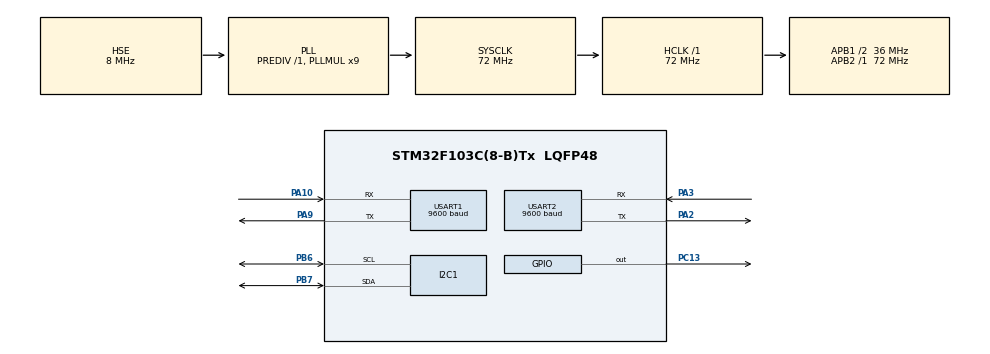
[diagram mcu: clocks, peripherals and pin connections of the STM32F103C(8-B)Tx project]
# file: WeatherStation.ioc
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I2C1.I2C_Mode=I2C_Fast
IWDG.Prescaler=IWDG_PRESCALER_32
IWDG.Reload=1999
Mcu.Family=STM32F1
Mcu.Name=STM32F103C(8-B)Tx
Mcu.Package=LQFP48
NVIC.I2C1_EV_IRQn=true\:0\:0\:false\:false\:true\:true\:true
NVIC.PriorityGroup=NVIC_PRIORITYGROUP_4
NVIC.TIM2_IRQn=true\:0\:0\:false\:false\:true\:true\:true
NVIC.USART1_IRQn=true\:0\:0\:false\:false\:true\:true\:true
NVIC.USART2_IRQn=true\:0\:0\:false\:false\:true\:true\:true
PA10.Mode=Asynchronous
PA10.Signal=USART1_RX
PA13.Mode=Serial_Wire
PA13.Signal=SYS_JTMS-SWDIO
PA14.Mode=Serial_Wire
PA14.Signal=SYS_JTCK-SWCLK
PA2.Mode=Asynchronous
PA2.Signal=USART2_TX
PA3.Mode=Asynchronous
PA3.Signal=USART2_RX
PA9.Mode=Asynchronous
PA9.Signal=USART1_TX
PB6.Mode=I2C
PB6.Signal=I2C1_SCL
PB7.Mode=I2C
PB7.Signal=I2C1_SDA
PC13-TAMPER-RTC.Signal=GPIO_Output
PD0-OSC_IN.Mode=HSE-External-Oscillator
PD0-OSC_IN.Signal=RCC_OSC_IN
PD1-OSC_OUT.Mode=HSE-External-Oscillator
PD1-OSC_OUT.Signal=RCC_OSC_OUT
ProjectManager.HeapSize=0x200
ProjectManager.StackSize=0x400
ProjectManager.TargetToolchain=MDK-ARM V5
RCC.AHBFreq_Value=72000000
RCC.APB1CLKDivider=RCC_HCLK_DIV2
RCC.APB1Freq_Value=36000000
RCC.APB1TimFreq_Value=72000000
RCC.APB2Freq_Value=72000000
RCC.APB2TimFreq_Value=72000000
RCC.HCLKFreq_Value=72000000
RCC.PLLMUL=RCC_PLL_MUL9
RCC.PLLSourceVirtual=RCC_PLLSOURCE_HSE
RCC.SYSCLKFreq_VALUE=72000000
RCC.SYSCLKSource=RCC_SYSCLKSOURCE_PLLCLK
RCC.USBFreq_Value=72000000
TIM2.Period=9999
TIM2.Prescaler=7200
USART1.BaudRate=9600
USART1.VirtualMode=VM_ASYNC
USART2.BaudRate=9600
USART2.VirtualMode=VM_ASYNC
VP_IWDG_VS_IWDG.Mode=IWDG_Activate
VP_TIM2_VS_ClockSourceINT.Mode=Internal
board=custom

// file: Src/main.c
/* USER CODE BEGIN Header */
/**
  ******************************************************************************
  * @file           : main.c
  * @brief          : Main program body
  ******************************************************************************
  * @attention
  *
  * <h2><center>&copy; Copyright (c) 2020 STMicroelectronics.
  * All rights reserved.</center></h2>
  *
  * This software component is licensed by ST under BSD 3-Clause license,
  * the "License"; You may not use this file except in compliance with the
  * License. You may obtain a copy of the License at:
  *                        opensource.org/licenses/BSD-3-Clause
  *
  ******************************************************************************
  */
/* USER CODE END Header */

#include "main.h"

/* USER CODE BEGIN Includes */
#include "stdio.h"
#include <string.h>
#include "BME280.h"
/* USER CODE END Includes */

I2C_HandleTypeDef hi2c1;

IWDG_HandleTypeDef hiwdg;

TIM_HandleTypeDef htim2;

UART_HandleTypeDef huart1;
UART_HandleTypeDef huart2;

/* USER CODE BEGIN PV */
uint16_t co2_ppm = 0;
uint8_t crc = 0;
char str[23];
uint8_t strAndroid[1];
uint8_t strUart[9];
uint8_t request_CO2[] = {0xFF, 0x01, 0x86, 0x00, 0x00, 0x00, 0x00, 0x00, 0x79};
float tf = 0.0f, pf = 0.0f, hf = 0.0f, pf_mm = 0.0f;
/* USER CODE END PV */

void SystemClock_Config(void);
static void MX_GPIO_Init(void);
static void MX_I2C1_Init(void);
static void MX_USART1_UART_Init(void);
static void MX_USART2_UART_Init(void);
static void MX_TIM2_Init(void);
static void MX_IWDG_Init(void);

int main(void)
{

  /* MCU Configuration--------------------------------------------------------*/

  /* Reset of all peripherals, Initializes the Flash interface and the Systick. */
  HAL_Init();

  /* Configure the system clock */
  SystemClock_Config();

  /* Initialize all configured peripherals */
  MX_GPIO_Init();
  MX_I2C1_Init();
  MX_USART1_UART_Init();
  MX_USART2_UART_Init();
  MX_TIM2_Init();
  MX_IWDG_Init();
  /* USER CODE BEGIN 2 */
	BME280_Init();
	HAL_UART_Receive_IT(&huart1,(uint8_t*) strUart,9);
	HAL_UART_Receive_IT(&huart2,(uint8_t*) strAndroid,1);
	HAL_TIM_Base_Start_IT(&htim2);
  /* USER CODE END 2 */

  /* Infinite loop */
  /* USER CODE BEGIN WHILE */
  while (1)
  {
    HAL_UART_Transmit(&huart1, request_CO2, 9, 200);
		tf = BME280_ReadTemperature();
		pf = BME280_ReadPressure();
		hf = BME280_ReadHumidity();
		pf_mm = pf * 0.000750062;
		HAL_Delay(1000);
		HAL_IWDG_Refresh(&hiwdg);
    /* USER CODE END WHILE */

  }
}

void SystemClock_Config(void)
{
  RCC_OscInitTypeDef RCC_OscInitStruct = {0};
  RCC_ClkInitTypeDef RCC_ClkInitStruct = {0};

  /** Initializes the CPU, AHB and APB busses clocks
  */
  RCC_OscInitStruct.OscillatorType = RCC_OSCILLATORTYPE_LSI|RCC_OSCILLATORTYPE_HSE;
  RCC_OscInitStruct.HSEState = RCC_HSE_ON;
  RCC_OscInitStruct.HSEPredivValue = RCC_HSE_PREDIV_DIV1;
  RCC_OscInitStruct.HSIState = RCC_HSI_ON;
  RCC_OscInitStruct.LSIState = RCC_LSI_ON;
  RCC_OscInitStruct.PLL.PLLState = RCC_PLL_ON;
  RCC_OscInitStruct.PLL.PLLSource = RCC_PLLSOURCE_HSE;
  RCC_OscInitStruct.PLL.PLLMUL = RCC_PLL_MUL9;
  if (HAL_RCC_OscConfig(&RCC_OscInitStruct) != HAL_OK)
  {
    Error_Handler();
  }
  /** Initializes the CPU, AHB and APB busses clocks
  */
  RCC_ClkInitStruct.ClockType = RCC_CLOCKTYPE_HCLK|RCC_CLOCKTYPE_SYSCLK
                              |RCC_CLOCKTYPE_PCLK1|RCC_CLOCKTYPE_PCLK2;
  RCC_ClkInitStruct.SYSCLKSource = RCC_SYSCLKSOURCE_PLLCLK;
  RCC_ClkInitStruct.AHBCLKDivider = RCC_SYSCLK_DIV1;
  RCC_ClkInitStruct.APB1CLKDivider = RCC_HCLK_DIV2;
  RCC_ClkInitStruct.APB2CLKDivider = RCC_HCLK_DIV1;

  if (HAL_RCC_ClockConfig(&RCC_ClkInitStruct, FLASH_LATENCY_2) != HAL_OK)
  {
    Error_Handler();
  }
}

static void MX_I2C1_Init(void)
{

  hi2c1.Instance = I2C1;
  hi2c1.Init.ClockSpeed = 400000;
  hi2c1.Init.DutyCycle = I2C_DUTYCYCLE_2;
  hi2c1.Init.OwnAddress1 = 0;
  hi2c1.Init.AddressingMode = I2C_ADDRESSINGMODE_7BIT;
  hi2c1.Init.DualAddressMode = I2C_DUALADDRESS_DISABLE;
  hi2c1.Init.OwnAddress2 = 0;
  hi2c1.Init.GeneralCallMode = I2C_GENERALCALL_DISABLE;
  hi2c1.Init.NoStretchMode = I2C_NOSTRETCH_DISABLE;
  if (HAL_I2C_Init(&hi2c1) != HAL_OK)
  {
    Error_Handler();
  }

}

static void MX_IWDG_Init(void)
{

  hiwdg.Instance = IWDG;
  hiwdg.Init.Prescaler = IWDG_PRESCALER_32;
  hiwdg.Init.Reload = 1999;
  if (HAL_IWDG_Init(&hiwdg) != HAL_OK)
  {
    Error_Handler();
  }

}

static void MX_TIM2_Init(void)
{

  TIM_ClockConfigTypeDef sClockSourceConfig = {0};
  TIM_MasterConfigTypeDef sMasterConfig = {0};

  htim2.Instance = TIM2;
  htim2.Init.Prescaler = 7200;
  htim2.Init.CounterMode = TIM_COUNTERMODE_UP;
  htim2.Init.Period = 9999;
  htim2.Init.ClockDivision = TIM_CLOCKDIVISION_DIV1;
  htim2.Init.AutoReloadPreload = TIM_AUTORELOAD_PRELOAD_DISABLE;
  if (HAL_TIM_Base_Init(&htim2) != HAL_OK)
  {
    Error_Handler();
  }
  sClockSourceConfig.ClockSource = TIM_CLOCKSOURCE_INTERNAL;
  if (HAL_TIM_ConfigClockSource(&htim2, &sClockSourceConfig) != HAL_OK)
  {
    Error_Handler();
  }
  sMasterConfig.MasterOutputTrigger = TIM_TRGO_RESET;
  sMasterConfig.MasterSlaveMode = TIM_MASTERSLAVEMODE_DISABLE;
  if (HAL_TIMEx_MasterConfigSynchronization(&htim2, &sMasterConfig) != HAL_OK)
  {
    Error_Handler();
  }

}

static void MX_USART1_UART_Init(void)
{

  huart1.Instance = USART1;
  huart1.Init.BaudRate = 9600;
  huart1.Init.WordLength = UART_WORDLENGTH_8B;
  huart1.Init.StopBits = UART_STOPBITS_1;
  huart1.Init.Parity = UART_PARITY_NONE;
  huart1.Init.Mode = UART_MODE_TX_RX;
  huart1.Init.HwFlowCtl = UART_HWCONTROL_NONE;
  huart1.Init.OverSampling = UART_OVERSAMPLING_16;
  if (HAL_UART_Init(&huart1) != HAL_OK)
  {
    Error_Handler();
  }

}

static void MX_USART2_UART_Init(void)
{

  huart2.Instance = USART2;
  huart2.Init.BaudRate = 9600;
  huart2.Init.WordLength = UART_WORDLENGTH_8B;
  huart2.Init.StopBits = UART_STOPBITS_1;
  huart2.Init.Parity = UART_PARITY_NONE;
  huart2.Init.Mode = UART_MODE_TX_RX;
  huart2.Init.HwFlowCtl = UART_HWCONTROL_NONE;
  huart2.Init.OverSampling = UART_OVERSAMPLING_16;
  if (HAL_UART_Init(&huart2) != HAL_OK)
  {
    Error_Handler();
  }

}

static void MX_GPIO_Init(void)
{
  GPIO_InitTypeDef GPIO_InitStruct = {0};

  /* GPIO Ports Clock Enable */
  __HAL_RCC_GPIOC_CLK_ENABLE();
  __HAL_RCC_GPIOD_CLK_ENABLE();
  __HAL_RCC_GPIOA_CLK_ENABLE();
  __HAL_RCC_GPIOB_CLK_ENABLE();

  /*Configure GPIO pin Output Level */
  HAL_GPIO_WritePin(GPIOC, GPIO_PIN_13, GPIO_PIN_RESET);

  /*Configure GPIO pin : PC13 */
  GPIO_InitStruct.Pin = GPIO_PIN_13;
  GPIO_InitStruct.Mode = GPIO_MODE_OUTPUT_PP;
  GPIO_InitStruct.Pull = GPIO_NOPULL;
  GPIO_InitStruct.Speed = GPIO_SPEED_FREQ_LOW;
  HAL_GPIO_Init(GPIOC, &GPIO_InitStruct);

}

/* USER CODE BEGIN 4 */
void HAL_TIM_PeriodElapsedCallback(TIM_HandleTypeDef *htim){
	if (htim == &htim2){
		HAL_GPIO_TogglePin(GPIOC, GPIO_PIN_13);
		sprintf(str, "%d %d %.1f %.1f", co2_ppm, (uint16_t)hf, tf, pf_mm);
		if (strAndroid[0] == 1) HAL_UART_Transmit(&huart2, (uint8_t*)str, strlen(str), 200);

	}
}

void HAL_UART_RxCpltCallback(UART_HandleTypeDef *huart){

	if (huart == &huart1){
		crc = 0;
		static uint32_t count = 0;
		for (int i = 1; i<8; i++){
			crc +=strUart[i];
		}
		crc = 0xFF - crc + 1;
		if (crc == strUart[8]){
			co2_ppm = strUart[2]*256+strUart[3];
		} else count++;
		if (count == 30){
			count = 0;
			co2_ppm = 0;
		}
		HAL_UART_Receive_IT(&huart1,(uint8_t*) strUart,9);
	}
	if (huart == &huart2){
		HAL_UART_Receive_IT(&huart2,(uint8_t*) strAndroid,1);
	}
}
/* USER CODE END 4 */

void Error_Handler(void)
{
}

/************************ (C) COPYRIGHT STMicroelectronics *****END OF FILE****/
